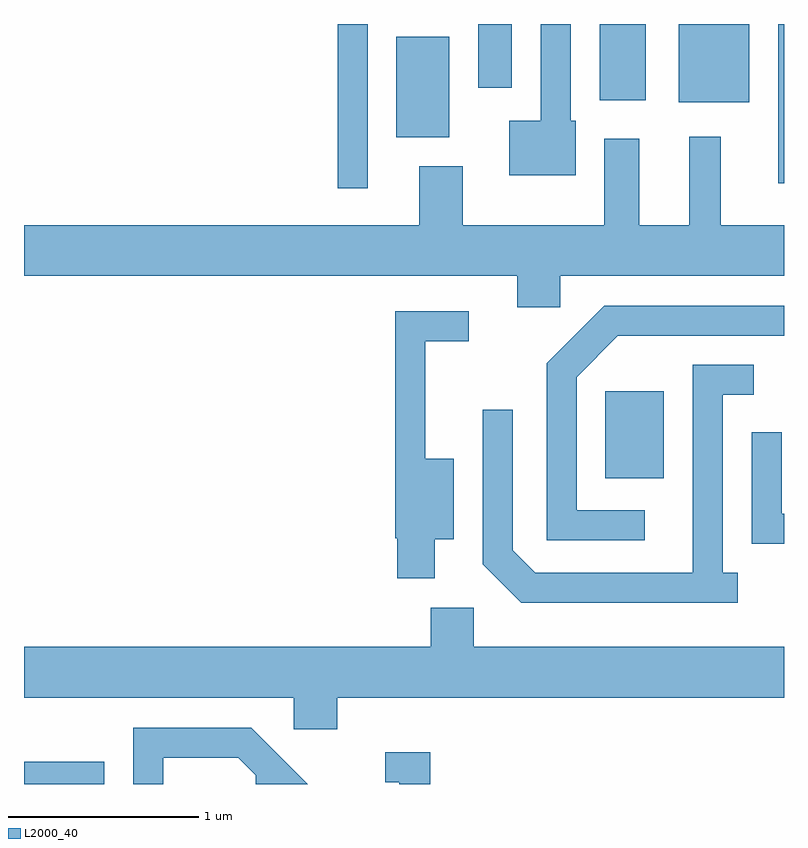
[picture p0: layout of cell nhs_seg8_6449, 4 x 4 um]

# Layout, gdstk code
import gdstk
lib = gdstk.Library(unit=1e-6, precision=1e-09)
def R(c, l, rs):  # rectangles x0, y0, x1, y1
    for r in rs: c.add(gdstk.rectangle(r[:2], r[2:], *l))
def P(c, l, *ps):  # polygons
    for p in ps: c.add(gdstk.Polygon(p, *l))
L2000_40 = (2000, 40)

nhs_seg8_6449 = lib.new_cell('nhs_seg8_6449')
R(nhs_seg8_6449, L2000_40, [(377.611,1900.342,378.034,1900.459), (380.671,1901.951,380.979,1902.409), (379.261,1903.478,379.419,1904.342), (381.581,1903.503,381.611,1904.342), (379.571,1903.746,379.849,1904.274), (381.056,1903.931,381.429,1904.342), (380.641,1903.941,380.884,1904.342), (380.001,1904.006,380.179,1904.342)])
P(nhs_seg8_6449, L2000_40, [(380.514,1903.834),(380.489,1903.834),(380.489,1904.342),(380.331,1904.342),(380.331,1903.834),(380.166,1903.834),(380.166,1903.546),(380.514,1903.546)],
  [(380.434,1903.016),(381.611,1903.016),(381.611,1903.284),(381.279,1903.284),(381.279,1903.748),(381.111,1903.748),(381.111,1903.284),(380.849,1903.284),(380.849,1903.739),(380.666,1903.739),(380.666,1903.284),(379.919,1903.284),(379.919,1903.594),(379.691,1903.594),(379.691,1903.284),(377.611,1903.284),(377.611,1903.016),(380.206,1903.016),(380.206,1902.851),(380.434,1902.851)],
  [(380.878,1901.784),(380.519,1901.784),(380.519,1902.484),(380.737,1902.701),(381.611,1902.701),(381.611,1902.859),(380.664,1902.859),(380.361,1902.557),(380.361,1901.626),(380.878,1901.626)],
  [(379.774,1901.631),(379.874,1901.631),(379.874,1902.054),(379.724,1902.054),(379.724,1902.671),(379.953,1902.671),(379.953,1902.829),(379.566,1902.829),(379.566,1901.635),(379.576,1901.635),(379.576,1901.426),(379.774,1901.426)],
  [(381.368,1901.454),(381.289,1901.454),(381.289,1902.391),(381.453,1902.391),(381.453,1902.549),(381.131,1902.549),(381.131,1901.454),(380.302,1901.454),(380.184,1901.572),(380.184,1902.313),(380.026,1902.313),(380.026,1901.499),(380.229,1901.296),(381.368,1901.296)],
  [(381.611,1901.764),(381.599,1901.764),(381.599,1902.193),(381.441,1902.193),(381.441,1901.606),(381.611,1901.606)],
  [(379.259,1900.796),(381.611,1900.796),(381.611,1901.064),(379.979,1901.064),(379.979,1901.269),(379.751,1901.269),(379.751,1901.064),(377.611,1901.064),(377.611,1900.796),(379.031,1900.796),(379.031,1900.631),(379.259,1900.631)],
  [(378.344,1900.481),(378.739,1900.481),(378.831,1900.389),(378.831,1900.342),(379.104,1900.342),(378.807,1900.639),(378.186,1900.639),(378.186,1900.342),(378.344,1900.342)],
  [(379.749,1900.509),(379.513,1900.509),(379.513,1900.351),(379.586,1900.351),(379.586,1900.342),(379.749,1900.342)])

lib.write_gds('nhs_seg8_6449.gds')
